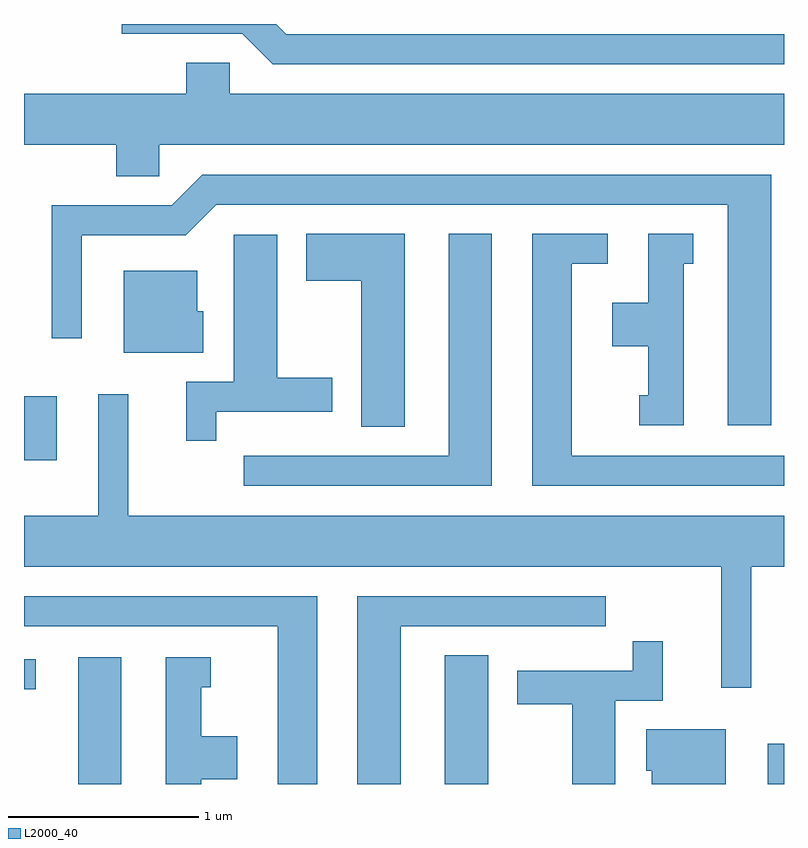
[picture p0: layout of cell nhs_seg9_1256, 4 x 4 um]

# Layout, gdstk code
import gdstk
lib = gdstk.Library(unit=1e-6, precision=1e-09)
def R(c, l, rs):  # rectangles x0, y0, x1, y1
    for r in rs: c.add(gdstk.rectangle(r[:2], r[2:], *l))
def P(c, l, *ps):  # polygons
    for p in ps: c.add(gdstk.Polygon(p, *l))
L2000_40 = (2000, 40)

nhs_seg9_1256 = lib.new_cell('nhs_seg9_1256')
R(nhs_seg9_1256, L2000_40, [(221.896,2008.432,222.124,2009.099), (223.826,2008.432,224.054,2009.109), (225.526,2008.432,225.611,2008.643), (221.611,2008.931,221.673,2009.089), (221.611,2010.136,221.784,2010.474)])
P(nhs_seg9_1256, L2000_40, [(225.611,2012.379),(222.992,2012.379),(222.939,2012.432),(222.126,2012.432),(222.126,2012.381),(222.759,2012.381),(222.919,2012.221),(225.611,2012.221)],
  [(222.324,2011.796),(225.611,2011.796),(225.611,2012.064),(222.694,2012.064),(222.694,2012.229),(222.466,2012.229),(222.466,2012.064),(221.611,2012.064),(221.611,2011.796),(222.096,2011.796),(222.096,2011.631),(222.324,2011.631)],
  [(225.544,2011.639),(222.549,2011.639),(222.389,2011.479),(221.756,2011.479),(221.756,2010.778),(221.914,2010.778),(221.914,2011.321),(222.462,2011.321),(222.622,2011.481),(225.316,2011.481),(225.316,2010.321),(225.544,2010.321)],
  [(223.614,2011.329),(223.096,2011.329),(223.096,2011.081),(223.386,2011.081),(223.386,2010.311),(223.614,2010.311)],
  [(224.074,2011.329),(223.846,2011.329),(223.846,2010.159),(222.768,2010.159),(222.768,2010.001),(224.074,2010.001)],
  [(225.084,2011.171),(225.133,2011.171),(225.133,2011.329),(224.896,2011.329),(224.896,2010.964),(224.706,2010.964),(224.706,2010.736),(224.896,2010.736),(224.896,2010.479),(224.848,2010.479),(224.848,2010.321),(225.084,2010.321)],
  [(225.611,2010.159),(224.494,2010.159),(224.494,2011.171),(224.683,2011.171),(224.683,2011.329),(224.286,2011.329),(224.286,2010.001),(225.611,2010.001)],
  [(222.624,2010.391),(223.234,2010.391),(223.234,2010.569),(222.944,2010.569),(222.944,2011.324),(222.716,2011.324),(222.716,2010.549),(222.466,2010.549),(222.466,2010.238),(222.624,2010.238)],
  [(222.554,2010.919),(222.524,2010.919),(222.524,2011.134),(222.136,2011.134),(222.136,2010.701),(222.554,2010.701)],
  [(225.439,2009.576),(225.611,2009.576),(225.611,2009.844),(222.159,2009.844),(222.159,2010.483),(222.001,2010.483),(222.001,2009.844),(221.611,2009.844),(221.611,2009.576),(225.281,2009.576),(225.281,2008.938),(225.439,2008.938)],
  [(223.154,2009.419),(221.611,2009.419),(221.611,2009.261),(222.946,2009.261),(222.946,2008.432),(223.154,2008.432)],
  [(223.594,2009.261),(224.673,2009.261),(224.673,2009.419),(223.366,2009.419),(223.366,2008.432),(223.594,2008.432)],
  [(224.724,2008.871),(224.974,2008.871),(224.974,2009.183),(224.816,2009.183),(224.816,2009.029),(224.206,2009.029),(224.206,2008.851),(224.496,2008.851),(224.496,2008.432),(224.724,2008.432)],
  [(222.544,2008.456),(222.734,2008.456),(222.734,2008.684),(222.544,2008.684),(222.544,2008.941),(222.593,2008.941),(222.593,2009.099),(222.356,2009.099),(222.356,2008.432),(222.544,2008.432)],
  [(225.304,2008.719),(224.886,2008.719),(224.886,2008.501),(224.916,2008.501),(224.916,2008.432),(225.304,2008.432)])

lib.write_gds('nhs_seg9_1256.gds')
